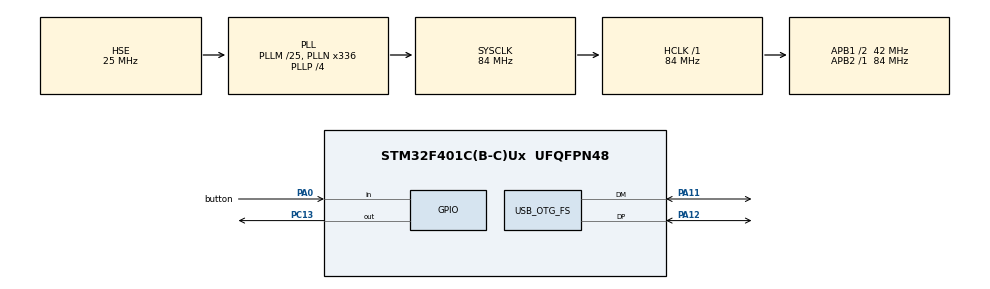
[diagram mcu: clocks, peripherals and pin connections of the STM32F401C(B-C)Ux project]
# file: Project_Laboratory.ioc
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AL94.I-CUBE-USBD-COMPOSITE.1.0.3.CompositeCcUSBJjCOMPOSITEJjCDCIiACM=true
AL94.I-CUBE-USBD-COMPOSITE.1.0.3.CompositeCcUSBJjCOMPOSITEJjCOMPOSITE=true
AL94.I-CUBE-USBD-COMPOSITE.1.0.3.CompositeCcUSBJjCOMPOSITEJjCore=true
AL94.I-CUBE-USBD-COMPOSITE.1.0.3.CompositeCcUSBJjCOMPOSITEJjHIDIiCUSTOM=true
AL94.I-CUBE-USBD-COMPOSITE.1.0.3.CompositeCcUSBJjCOMPOSITEJjHIDIiKEYBOARD=true
AL94.I-CUBE-USBD-COMPOSITE.1.0.3.CompositeCcUSBJjCOMPOSITEJjHIDIiMOUSE=true
AL94.I-CUBE-USBD-COMPOSITE.1.0.3._STM32F1_DEVICE=false
AL94.I-CUBE-USBD-COMPOSITE.1.0.3._USBD_CDC_ACM_COUNT=1
AL94.I-CUBE-USBD-COMPOSITE.1.0.3._USBD_USE_CDC_ACM=true
AL94.I-CUBE-USBD-COMPOSITE.1.0.3._USBD_USE_CDC_ECM=false
AL94.I-CUBE-USBD-COMPOSITE.1.0.3._USBD_USE_HID_KEYBOARD=true
AL94.I-CUBE-USBD-COMPOSITE.1.0.3._USBD_USE_HS=false
AL94.I-CUBE-USBD-COMPOSITE.1.0.3._USBD_USE_MSC=false
AL94.I-CUBE-USBD-COMPOSITE.1.0.3._USBD_USE_UAC_SPKR=false
Mcu.Family=STM32F4
Mcu.Name=STM32F401C(B-C)Ux
Mcu.Package=UFQFPN48
NVIC.OTG_FS_IRQn=true\:0\:0\:false\:false\:true\:true\:true\:true
NVIC.PriorityGroup=NVIC_PRIORITYGROUP_4
PA0-WKUP.GPIO_Label=button
PA0-WKUP.GPIO_PuPd=GPIO_PULLUP
PA0-WKUP.Signal=GPIO_Input
PA11.Mode=Device_Only
PA11.Signal=USB_OTG_FS_DM
PA12.Mode=Device_Only
PA12.Signal=USB_OTG_FS_DP
PA13.Mode=Serial_Wire
PA13.Signal=SYS_JTMS-SWDIO
PA14.Mode=Serial_Wire
PA14.Signal=SYS_JTCK-SWCLK
PB6.Signal=USART1_TX
PB7.Signal=USART1_RX
PC13-ANTI_TAMP.Signal=GPIO_Output
PC14-OSC32_IN.Mode=LSE-External-Oscillator
PC14-OSC32_IN.Signal=RCC_OSC32_IN
PC15-OSC32_OUT.Mode=LSE-External-Oscillator
PC15-OSC32_OUT.Signal=RCC_OSC32_OUT
PH0\ -\ OSC_IN.Mode=HSE-External-Oscillator
PH0\ -\ OSC_IN.Signal=RCC_OSC_IN
PH1\ -\ OSC_OUT.Mode=HSE-External-Oscillator
PH1\ -\ OSC_OUT.Signal=RCC_OSC_OUT
ProjectManager.HeapSize=0x200
ProjectManager.StackSize=0x400
ProjectManager.TargetToolchain=STM32CubeIDE
RCC.48MHZClocksFreq_Value=48000000
RCC.AHBFreq_Value=84000000
RCC.APB1CLKDivider=RCC_HCLK_DIV2
RCC.APB1Freq_Value=42000000
RCC.APB1TimFreq_Value=84000000
RCC.APB2Freq_Value=84000000
RCC.APB2TimFreq_Value=84000000
RCC.CortexFreq_Value=84000000
RCC.HCLKFreq_Value=84000000
RCC.HSE_VALUE=25000000
RCC.HSI_VALUE=16000000
RCC.PLLM=25
RCC.PLLN=336
RCC.PLLP=RCC_PLLP_DIV4
RCC.PLLQ=7
RCC.RCC_RTC_Clock_Source=RCC_RTCCLKSOURCE_LSE
RCC.RCC_RTC_Clock_SourceVirtual=RCC_RTCCLKSOURCE_LSE
RCC.RCC_RTC_Clock_Source_FROM_HSE=RCC_RTCCLKSOURCE_HSE_DIV25
RCC.SYSCLKFreq_VALUE=84000000
RCC.SYSCLKSource=RCC_SYSCLKSOURCE_PLLCLK
RCC.VCOOutputFreq_Value=336000000
RTC.AsynchPrediv=127
RTC.SynchPrediv=255
USB_OTG_FS.VirtualMode=Device_Only
VP_AL94.I-CUBE-USBD-COMPOSITE_VS_USBJjComposite_1.0.0_1.0.3.Mode=USBJjComposite
VP_RTC_VS_RTC_Activate.Mode=RTC_Enabled
board=custom

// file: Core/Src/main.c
/* USER CODE BEGIN Header */
/**
  ******************************************************************************
  * @file           : main.c
  * @brief          : Main program body
  ******************************************************************************
  * @attention
  *
  * Copyright (c) 2024 STMicroelectronics.
  * All rights reserved.
  *
  * This software is licensed under terms that can be found in the LICENSE file
  * in the root directory of this software component.
  * If no LICENSE file comes with this software, it is provided AS-IS.
  *
  ******************************************************************************
  */
/* USER CODE END Header */
#include "main.h"
#include "rtc.h"
#include "usb_otg.h"
#include "gpio.h"

/* USER CODE BEGIN Includes */
#include "variables.h"
#include "communication.h"
#include "encryption.h"
#include "flash.h"
/* USER CODE END Includes */

/* USER CODE BEGIN PV */
extern USBD_HandleTypeDef hUsbDevice;
/* USER CODE END PV */

void SystemClock_Config(void);
/* USER CODE BEGIN PFP */

void my_init();

/* USER CODE END PFP */

/* USER CODE BEGIN 0 */
bool send = false;
volatile uint8_t mybuffer[3];
volatile uint8_t data[9];
int pos=0;
int num=0;
volatile uint8_t their_public_key_test[3];
extern int public_key_length;
extern bool data_recieved;
extern uint8_t ok;
wchar_t* email_or_username;
wchar_t* password;
bool nothing_to_send=false;
int email_or_username_len=0;
int password_len=0;
/* USER CODE END 0 */

int main(void)
{

  /* MCU Configuration--------------------------------------------------------*/

  /* Reset of all peripherals, Initializes the Flash interface and the Systick. */
  HAL_Init();

  /* Configure the system clock */
  SystemClock_Config();

  /* Initialize all configured peripherals */
  MX_GPIO_Init();
  MX_RTC_Init();
  MX_USB_OTG_FS_PCD_Init();
  /* USER CODE BEGIN 2 */
  MX_USB_DEVICE_Init();
  my_init();

  /* USER CODE END 2 */

  /* Infinite loop */
  /* USER CODE BEGIN WHILE */
  while (1)
  {
	  button = HAL_GPIO_ReadPin(button_GPIO_Port, button_Pin);

	  if(button == is_pushed)
	  {
		  HAL_GPIO_WritePin(GPIOC, GPIO_PIN_13, led_set);
		  encrypt_and_decrypt_msg(command,11);
		  command[10] = '\n';
		  step=LOGIN_REQ;
		  nothing_to_send=false;

		  while(!data_recieved)
		  {
			  CDC_Transmit(acm_id, command, 11);
			  HAL_Delay(2000);
		  }

		  if(!nothing_to_send)
		  {
			  send_hid(email_or_username, email_or_username_len);
			  USBD_Delay(100);
			  send_hid(tab,1);
			  USBD_Delay(100);
			  send_hid(password,password_len);

			  free(email_or_username);
			  free(password);
		  }

		  step=READ_COMMAND;
		  data_recieved = false;
		  nothing_to_send=false;
		  HAL_GPIO_WritePin(GPIOC, GPIO_PIN_13, led_reset);

	  }
	  else
	  {
		  if(data_recieved)
		  {
			  data_recieved = false;
			  switch(mybuffer[0])
			  {
				  case SET_UP_COMM: set_up_encryption(); break;

				  case SET_KEY_BOARD_LANG:
					  if(mybuffer[1] == 'e')
						  set_keyboard_language(ENG);
					  else
						  if(mybuffer[1] == 'h')
							  set_keyboard_language(HUN);
					  break;
			  }
		  }
	  }

	  USBD_Delay(10);

    /* USER CODE END WHILE */

  }
}

void SystemClock_Config(void)
{
  RCC_OscInitTypeDef RCC_OscInitStruct = {0};
  RCC_ClkInitTypeDef RCC_ClkInitStruct = {0};

  /** Configure the main internal regulator output voltage
  */
  __HAL_RCC_PWR_CLK_ENABLE();
  __HAL_PWR_VOLTAGESCALING_CONFIG(PWR_REGULATOR_VOLTAGE_SCALE2);

  /** Initializes the RCC Oscillators according to the specified parameters
  * in the RCC_OscInitTypeDef structure.
  */
  RCC_OscInitStruct.OscillatorType = RCC_OSCILLATORTYPE_HSE|RCC_OSCILLATORTYPE_LSE;
  RCC_OscInitStruct.HSEState = RCC_HSE_ON;
  RCC_OscInitStruct.LSEState = RCC_LSE_ON;
  RCC_OscInitStruct.PLL.PLLState = RCC_PLL_ON;
  RCC_OscInitStruct.PLL.PLLSource = RCC_PLLSOURCE_HSE;
  RCC_OscInitStruct.PLL.PLLM = 25;
  RCC_OscInitStruct.PLL.PLLN = 336;
  RCC_OscInitStruct.PLL.PLLP = RCC_PLLP_DIV4;
  RCC_OscInitStruct.PLL.PLLQ = 7;
  if (HAL_RCC_OscConfig(&RCC_OscInitStruct) != HAL_OK)
  {
    Error_Handler();
  }

  /** Initializes the CPU, AHB and APB buses clocks
  */
  RCC_ClkInitStruct.ClockType = RCC_CLOCKTYPE_HCLK|RCC_CLOCKTYPE_SYSCLK
                              |RCC_CLOCKTYPE_PCLK1|RCC_CLOCKTYPE_PCLK2;
  RCC_ClkInitStruct.SYSCLKSource = RCC_SYSCLKSOURCE_PLLCLK;
  RCC_ClkInitStruct.AHBCLKDivider = RCC_SYSCLK_DIV1;
  RCC_ClkInitStruct.APB1CLKDivider = RCC_HCLK_DIV2;
  RCC_ClkInitStruct.APB2CLKDivider = RCC_HCLK_DIV1;

  if (HAL_RCC_ClockConfig(&RCC_ClkInitStruct, FLASH_LATENCY_2) != HAL_OK)
  {
    Error_Handler();
  }
}

/* USER CODE BEGIN 4 */

void my_init()
{
	  setlocale(LC_CTYPE, "");
	  HAL_GPIO_WritePin(GPIOC, GPIO_PIN_13, GPIO_PIN_SET);

	  message_hun = L"ABCDEFGHIJKLMNOPQRSTUVWXYZ \nabcdefghijklmnopqrstuvwxyz \n0123456789 \nárvíztűrő tükörfúrógép \nÁRVÍZTŰRŐ TÜKÖRFÚRÓGÉP \n, . - / * + ? ! : \t @\n";

	  del_str[0] = 127;
	  del_str[1] = L'\0';
}

void USB_CDC_RxHandler(uint8_t* Buf, uint32_t Len)
{
	switch(step)
	{
		case WAIT_FOR_REPLY:
			ok = Buf[0];

		case READ_PUBLIC_KEY:
			if(Len==64)
			{
				for(int i=0; i<Len; ++i)
				{
					their_public_key[i] = Buf[i];
				}

				data_recieved = true;
				pos=0;
				++step;
			} break;

		case READ_REPLY_MESSAGE:
			if(Len==8)
			{
				for(int i=0; i<Len; ++i)
				{
					data[i] = Buf[i];
				}

				data_recieved = true;
				pos=0;
			} break;

		case READ_COMMAND:
			if(Buf[0]>='0' || Buf[0]<='9')
			{
				mybuffer[0] = Buf[0]-'0';

				if(mybuffer[0]==SET_KEY_BOARD_LANG)
				{
					mybuffer[1] = Buf[2];
				}

				data_recieved = true;
				pos=0;
			} break;
		case LOGIN_REQ:
			switch(pos)
			{
				case 0:
					if(Len==1)
					{
						nothing_to_send=true;
						data_recieved = true;
						break;
					}
					else
					{
						uint8_t buffer[Len];
						for(int i=0; i<Len; ++i)
							buffer[i] = (wchar_t)Buf[i];
						encrypt_and_decrypt_msg(buffer, Len);
						email_or_username_len = Len;
						email_or_username = (wchar_t*) malloc(Len*sizeof(wchar_t));
						for (int i = 0; i < Len; ++i)
						{
							email_or_username[i] = (wchar_t)buffer[i];
						}
					}
					++pos;
					break;

				case 1:
					uint8_t buffer[Len];
					for(int i=0; i<Len; ++i)
						buffer[i] = Buf[i];
					encrypt_and_decrypt_msg(buffer, Len);
					password_len = Len;
					password  = (wchar_t*) malloc(Len*sizeof(wchar_t));
					for (int i = 0; i < Len; ++i)
					{
						password[i] = (wchar_t)buffer[i];
					}
					data_recieved = true;
					break;
			}

	}
}

/* USER CODE END 4 */

void Error_Handler(void)
{
  __disable_irq();
  while (1)
  {
  }
}
